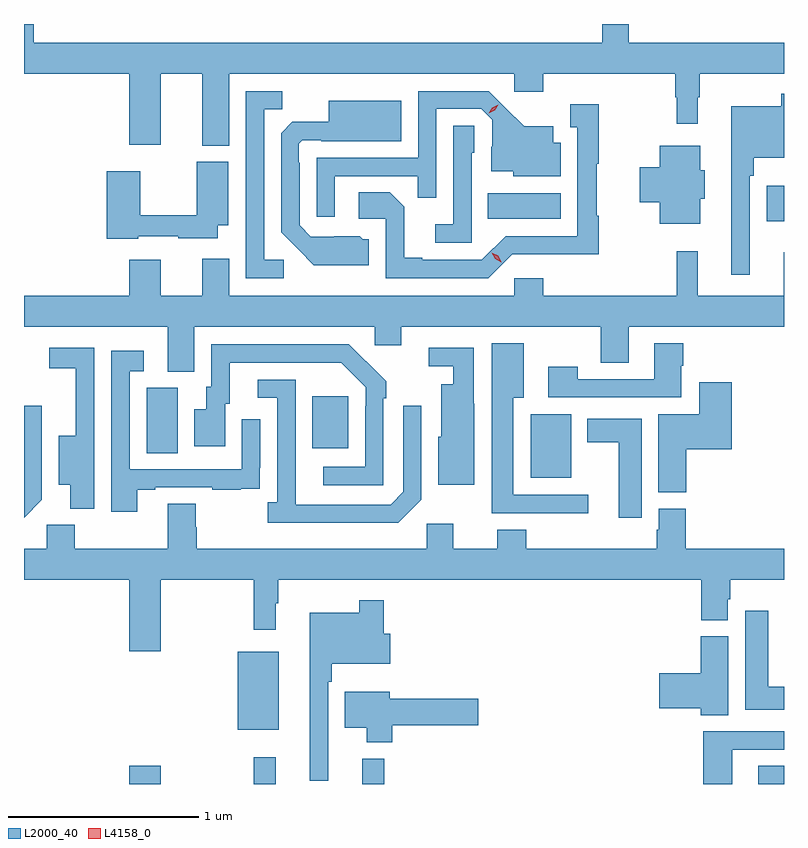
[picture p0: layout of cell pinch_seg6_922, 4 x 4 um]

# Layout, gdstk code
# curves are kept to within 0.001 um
import gdstk
lib = gdstk.Library(unit=1e-6, precision=1e-09)
def R(c, l, rs):  # rectangles x0, y0, x1, y1
    for r in rs: c.add(gdstk.rectangle(r[:2], r[2:], *l))
def P(c, l, *ps):  # polygons
    for p in ps: c.add(gdstk.Polygon(p, *l))
L2000_40 = (2000, 40)
L4158_0 = (4158, 0)

pinch_seg6_922 = lib.new_cell('pinch_seg6_922')
R(pinch_seg6_922, L2000_40, [(344.828,931.61,344.992,931.705), (345.481,931.61,345.599,931.75), (346.052,931.61,346.169,931.744), (348.137,931.61,348.273,931.706), (345.398,931.895,345.613,932.305), (346.94,933.221,347.152,933.556), (344.918,933.352,345.082,933.696), (345.791,933.377,345.979,933.652), (348.182,934.571,348.273,934.759), (346.714,934.586,347.098,934.72)])
P(pinch_seg6_922, L2000_40, [(345.352,935.348),(346.854,935.348),(346.854,935.253),(347.006,935.253),(347.006,935.348),(347.701,935.348),(347.701,935.225),(347.709,935.225),(347.709,935.085),(347.818,935.085),(347.818,935.225),(347.83,935.225),(347.83,935.348),(348.273,935.348),(348.273,935.512),(347.455,935.512),(347.455,935.61),(347.316,935.61),(347.316,935.512),(344.324,935.512),(344.324,935.61),(344.273,935.61),(344.273,935.348),(344.828,935.348),(344.828,934.974),(344.992,934.974),(344.992,935.348),(345.212,935.348),(345.212,934.97),(345.352,934.97)],
  [(345.909,934.809),(346.345,934.809),(346.345,934.696),(346.443,934.696),(346.443,935.163),(346.68,935.163),(346.737,935.106),(346.737,934.964),(346.733,934.964),(346.733,934.835),(346.848,934.835),(346.848,934.808),(347.098,934.808),(347.098,934.984),(347.059,934.984),(347.059,935.071),(346.907,935.071),(346.72,935.256),(346.347,935.256),(346.347,934.905),(345.813,934.905),(345.813,934.596),(345.909,934.596)],
  [(345.64,934.368),(345.537,934.368),(345.537,935.161),(345.633,935.161),(345.633,935.256),(345.441,935.256),(345.441,934.272),(345.64,934.272)],
  [(348.093,934.811),(348.113,934.811),(348.113,934.907),(348.273,934.907),(348.273,935.242),(348.258,935.242),(348.258,935.176),(347.996,935.176),(347.996,934.29),(348.093,934.29)],
  [(346.087,934.476),(346.056,934.476),(346.04,934.492),(345.783,934.491),(345.723,934.551),(345.723,934.88),(345.72,934.88),(345.72,934.98),(345.738,934.998),(345.838,934.998),(345.838,934.994),(346.258,934.994),(346.258,935.206),(345.878,935.206),(345.878,935.095),(345.686,935.095),(345.627,935.036),(345.627,934.514),(345.799,934.34),(346.087,934.34)],
  [(346.842,934.398),(347.297,934.397),(347.297,934.601),(347.287,934.601),(347.287,934.875),(347.297,934.875),(347.297,935.188),(347.147,935.188),(347.147,935.067),(347.186,935.067),(347.186,934.494),(346.809,934.494),(346.683,934.368),(346.369,934.368),(346.369,934.381),(346.275,934.381),(346.275,934.648),(346.199,934.724),(346.035,934.724),(346.035,934.584),(346.176,934.584),(346.176,934.272),(346.716,934.272)],
  [(346.629,934.932),(346.644,934.932),(346.644,935.075),(346.533,935.075),(346.533,934.555),(346.437,934.555),(346.437,934.458),(346.629,934.458)],
  [(347.833,934.689),(347.857,934.689),(347.857,934.839),(347.833,934.839),(347.833,934.969),(347.618,934.969),(347.618,934.856),(347.513,934.856),(347.513,934.673),(347.618,934.673),(347.618,934.559),(347.833,934.559)],
  [(344.874,934.494),(345.086,934.494),(345.086,934.482),(345.292,934.482),(345.292,934.55),(345.349,934.55),(345.349,934.885),(345.182,934.885),(345.182,934.603),(344.886,934.603),(344.886,934.834),(344.708,934.834),(344.708,934.481),(344.874,934.481)],
  [(345.169,934.016),(346.119,934.016),(346.119,933.918),(346.258,933.918),(346.258,934.016),(347.308,934.016),(347.308,933.826),(347.455,933.826),(347.455,934.016),(348.273,934.016),(348.273,934.408),(348.272,934.408),(348.272,934.18),(347.819,934.18),(347.819,934.414),(347.709,934.414),(347.709,934.18),(347.006,934.18),(347.006,934.273),(346.854,934.273),(346.854,934.18),(345.352,934.18),(345.352,934.375),(345.212,934.375),(345.212,934.18),(344.992,934.18),(344.992,934.369),(344.828,934.369),(344.828,934.18),(344.273,934.18),(344.273,934.016),(345.029,934.016),(345.029,933.781),(345.169,933.781)],
  [(347.731,933.811),(347.744,933.811),(347.744,933.931),(347.591,933.931),(347.591,933.741),(347.187,933.741),(347.187,933.805),(347.031,933.805),(347.031,933.645),(347.731,933.645)],
  [(347.242,933.132),(346.849,933.132),(346.849,933.644),(346.903,933.644),(346.903,933.931),(346.736,933.931),(346.736,933.035),(347.242,933.035)],
  [(346.164,933.641),(346.179,933.641),(346.179,933.729),(345.982,933.924),(345.258,933.924),(345.258,933.702),(345.233,933.702),(345.233,933.583),(345.17,933.583),(345.17,933.387),(345.331,933.387),(345.331,933.612),(345.355,933.612),(345.355,933.828),(345.943,933.828),(346.071,933.699),(346.071,933.599),(346.068,933.599),(346.068,933.279),(345.849,933.279),(345.849,933.183),(346.164,933.183)],
  [(346.642,933.611),(346.641,933.611),(346.641,933.906),(346.404,933.906),(346.404,933.81),(346.533,933.81),(346.533,933.715),(346.469,933.715),(346.469,933.438),(346.454,933.438),(346.454,933.185),(346.642,933.185)],
  [(344.643,933.906),(344.406,933.906),(344.406,933.798),(344.546,933.798),(344.546,933.442),(344.456,933.442),(344.456,933.185),(344.516,933.185),(344.516,933.059),(344.643,933.059)],
  [(344.869,933.159),(344.965,933.159),(344.965,933.171),(345.265,933.171),(345.265,933.159),(345.413,933.159),(345.413,933.165),(345.515,933.165),(345.515,933.274),(345.516,933.274),(345.516,933.529),(345.42,933.529),(345.42,933.267),(344.829,933.267),(344.829,933.783),(344.902,933.783),(344.902,933.889),(344.733,933.889),(344.733,933.042),(344.869,933.042)],
  [(346.365,933.105),(346.365,933.601),(346.269,933.601),(346.269,933.147),(346.203,933.081),(345.703,933.081),(345.702,933.738),(345.504,933.738),(345.504,933.642),(345.606,933.642),(345.606,933.094),(345.555,933.094),(345.555,932.984),(346.244,932.984)],
  [(347.759,933.371),(347.999,933.371),(347.999,933.724),(347.828,933.724),(347.828,933.556),(347.612,933.556),(347.612,933.145),(347.759,933.145)],
  [(344.367,933.105),(344.367,933.601),(344.273,933.601),(344.273,933.011)],
  [(347.524,933.532),(347.237,933.532),(347.237,933.41),(347.402,933.41),(347.402,933.012),(347.524,933.012)],
  [(344.992,932.684),(345.481,932.684),(345.481,932.421),(345.598,932.421),(345.598,932.561),(345.61,932.561),(345.61,932.684),(347.837,932.684),(347.837,932.473),(347.977,932.473),(347.977,932.583),(347.99,932.583),(347.99,932.684),(348.273,932.684),(348.273,932.848),(347.756,932.848),(347.756,933.06),(347.615,933.06),(347.615,932.949),(347.603,932.949),(347.603,932.848),(346.916,932.848),(346.916,932.947),(346.763,932.947),(346.763,932.848),(346.531,932.848),(346.531,932.98),(346.392,932.98),(346.392,932.848),(345.182,932.848),(345.182,932.961),(345.177,932.961),(345.177,933.086),(345.029,933.086),(345.029,932.848),(344.541,932.848),(344.541,932.974),(344.394,932.974),(344.394,932.848),(344.273,932.848),(344.273,932.684),(344.828,932.684),(344.828,932.31),(344.992,932.31)],
  [(345.873,932.147),(345.893,932.147),(345.893,932.243),(346.201,932.243),(346.201,932.401),(346.166,932.401),(346.166,932.578),(346.038,932.578),(346.038,932.512),(345.776,932.512),(345.776,931.626),(345.873,931.626)],
  [(348.273,932.122),(348.19,932.122),(348.19,932.521),(348.068,932.521),(348.068,932),(348.273,932)],
  [(347.98,932.388),(347.834,932.388),(347.834,932.192),(347.616,932.192),(347.616,932.009),(347.834,932.009),(347.834,931.972),(347.98,931.972)],
  [(346.211,931.918),(346.663,931.918),(346.663,932.06),(346.198,932.06),(346.198,932.095),(345.962,932.095),(345.962,931.907),(346.076,931.907),(346.076,931.829),(346.211,931.829)],
  [(348.001,931.791),(348.273,931.791),(348.273,931.887),(347.849,931.887),(347.849,931.61),(348.001,931.61)])
P(pinch_seg6_922, L4158_0, [(346.72,935.139),(346.72,935.14),(346.737,935.17),(346.768,935.185),(346.768,935.185),(346.768,935.185),(346.751,935.155),(346.72,935.139)],
  [(346.785,934.356),(346.754,934.375),(346.736,934.407),(346.736,934.407),(346.736,934.407),(346.768,934.389),(346.786,934.356),(346.786,934.356)])

lib.write_gds('pinch_seg6_922.gds')
